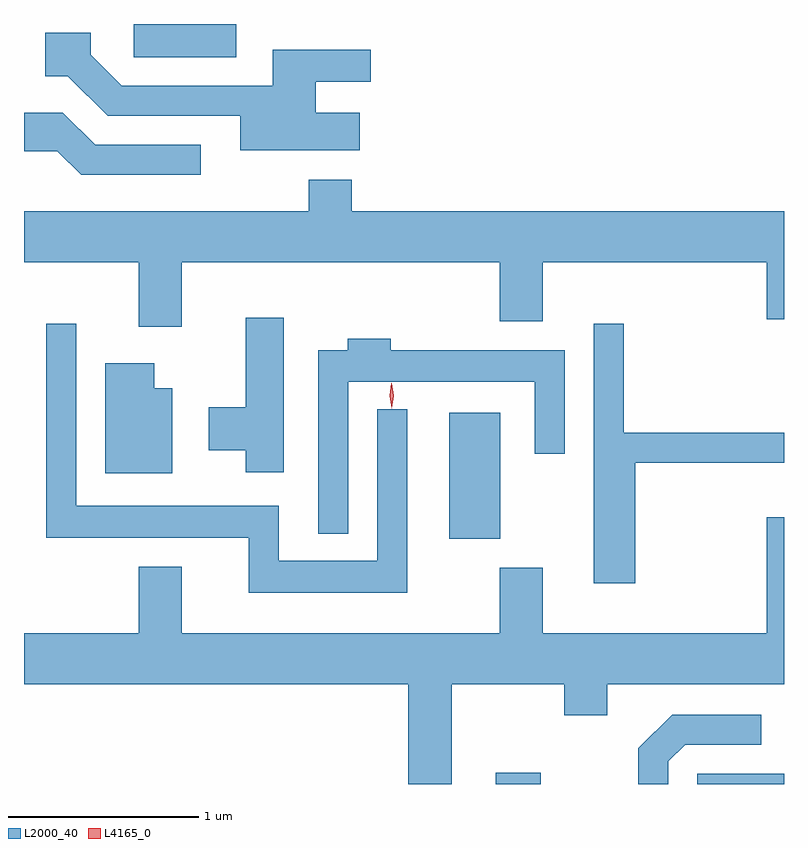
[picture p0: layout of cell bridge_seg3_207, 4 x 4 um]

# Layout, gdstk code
import gdstk
lib = gdstk.Library(unit=1e-6, precision=1e-09)
def R(c, l, rs):  # rectangles x0, y0, x1, y1
    for r in rs: c.add(gdstk.rectangle(r[:2], r[2:], *l))
def P(c, l, *ps):  # polygons
    for p in ps: c.add(gdstk.Polygon(p, *l))
L2000_40 = (2000, 40)
L4165_0 = (4165, 0)

bridge_seg3_207 = lib.new_cell('bridge_seg3_207')
R(bridge_seg3_207, L2000_40, [(912.951,1176.55,913.188,1176.609), (914.011,1176.55,914.468,1176.604), (912.706,1177.841,912.974,1178.504), (911.046,1180.376,911.584,1180.55)])
P(bridge_seg3_207, L2000_40, [(912.234,1180.084),(912.004,1180.084),(912.004,1180.246),(912.293,1180.246),(912.293,1180.414),(911.776,1180.414),(911.776,1180.224),(910.982,1180.224),(910.819,1180.387),(910.819,1180.504),(910.581,1180.504),(910.581,1180.276),(910.699,1180.276),(910.909,1180.066),(911.606,1180.066),(911.606,1179.886),(912.234,1179.886)],
  [(911.398,1179.914),(910.842,1179.914),(910.672,1180.084),(910.468,1180.084),(910.468,1179.881),(910.644,1179.881),(910.769,1179.756),(911.398,1179.756)],
  [(911.299,1179.296),(912.971,1179.296),(912.971,1178.986),(913.199,1178.986),(913.199,1179.296),(914.376,1179.296),(914.376,1178.996),(914.468,1178.996),(914.468,1179.564),(912.194,1179.564),(912.194,1179.729),(911.966,1179.729),(911.966,1179.564),(910.468,1179.564),(910.468,1179.296),(911.071,1179.296),(911.071,1178.956),(911.299,1178.956)],
  [(911.834,1179.004),(911.636,1179.004),(911.636,1178.534),(911.441,1178.534),(911.441,1178.306),(911.636,1178.306),(911.636,1178.191),(911.834,1178.191)],
  [(912.484,1178.523),(912.326,1178.523),(912.326,1177.724),(911.809,1177.724),(911.809,1178.014),(910.744,1178.014),(910.744,1178.973),(910.586,1178.973),(910.586,1177.846),(911.651,1177.846),(911.651,1177.556),(912.484,1177.556)],
  [(913.684,1178.241),(914.468,1178.241),(914.468,1178.399),(913.624,1178.399),(913.624,1178.973),(913.466,1178.973),(913.466,1177.606),(913.684,1177.606)],
  [(912.174,1178.666),(913.156,1178.666),(913.156,1178.288),(913.314,1178.288),(913.314,1178.834),(912.399,1178.834),(912.399,1178.894),(912.171,1178.894),(912.171,1178.834),(912.016,1178.834),(912.016,1177.868),(912.174,1177.868)],
  [(911.249,1178.634),(911.154,1178.634),(911.154,1178.764),(910.896,1178.764),(910.896,1178.186),(911.249,1178.186)],
  [(912.719,1177.076),(913.311,1177.076),(913.311,1176.911),(913.539,1176.911),(913.539,1177.076),(914.468,1177.076),(914.468,1177.954),(914.376,1177.954),(914.376,1177.344),(913.199,1177.344),(913.199,1177.689),(912.971,1177.689),(912.971,1177.344),(911.299,1177.344),(911.299,1177.694),(911.071,1177.694),(911.071,1177.344),(910.468,1177.344),(910.468,1177.076),(912.491,1177.076),(912.491,1176.55),(912.719,1176.55)],
  [(913.859,1176.669),(913.947,1176.756),(914.348,1176.756),(914.348,1176.914),(913.879,1176.914),(913.701,1176.737),(913.701,1176.55),(913.859,1176.55)])
P(bridge_seg3_207, L4165_0, [(912.403,1178.527),(912.403,1178.527),(912.393,1178.594),(912.402,1178.66),(912.403,1178.66),(912.403,1178.66),(912.413,1178.594),(912.404,1178.527)])

lib.write_gds('bridge_seg3_207.gds')
